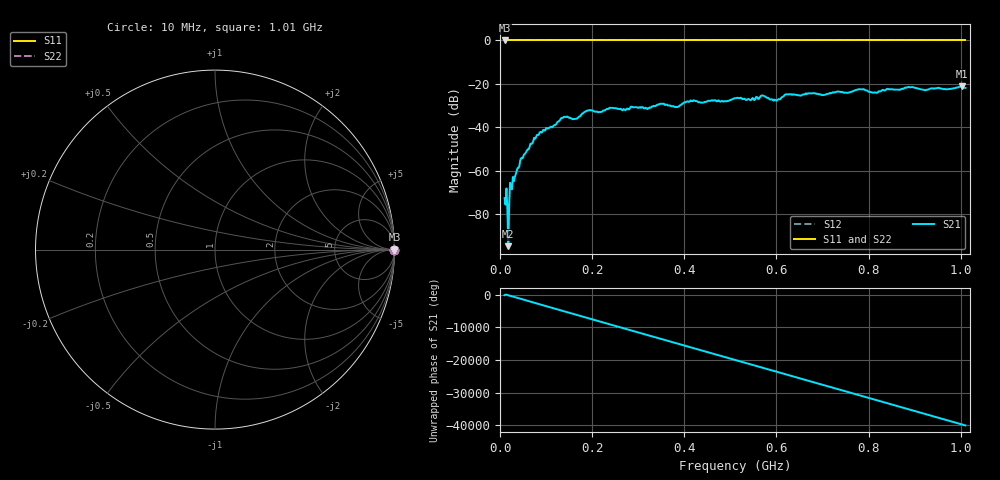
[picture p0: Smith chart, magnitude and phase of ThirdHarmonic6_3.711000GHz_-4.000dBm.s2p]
! 8/17/2025 12:38:05 PM
! C:\ANRITSUVNA\TEMP\TEMP.S2P
! CHANNEL.1
! TR.MEASUREMENT
! RAW.DATA
! RF.CORRECTION.OFF
! AVERAGING.OFF
! IF.BANDWIDTH: 5KHZ
! SWEEPTYPE:  FREQ.SWEEP(Linear)
! Reference Plane Port Info
! PORT:  PORT1  PORT2
! DISTANCE:  0  m  0  m
! TIME:  0  s  0  s
! PHASE.OFFSET:  0  deg.  0  deg.
! LOSS:  0  dB  0  dB
! REF.LOSS:  0  dB  0  dB
! REF.FREQ:  0  Hz  0  Hz
! Power Info
! POWER:  -20  dBm  -20  dBm
! EFF.POWER:  -20  dBm  -20  dBm
! SOURCE.ATTEN:  0  dB  0  dB
! TEST.ATTEN:  0  dB  0  dB
# GHZ S RI R 50.0
! FREQ.GHZ  S11RE  S11IM  S21RE  S21IM  S12RE  S12IM  S22RE  S22IM
!; PortSelection: Port_12
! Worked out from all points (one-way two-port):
!   501 points, 10 MHz to 1.01 GHz, reference 50 ohm
!   highest |S21| = -21.18 dB at 1.002 GHz (marker M1); lowest = -94.7 dB at 18 MHz (marker M2)
!   lowest |S11| = 0.0 dB at 10 MHz (marker M3)
!   |S11| at or under -10 dB: nowhere
!   |S22| runs from 0.0 to 0.0 dB; largest |S21 - S12| = 1.1
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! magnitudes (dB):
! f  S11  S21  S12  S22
! 10 MHz  0.0  -72.5  0.0  0.0
! 16 MHz  0.0  -77.5  0.0  0.0
! 18 MHz  0.0  -94.7  0.0  0.0
! 22 MHz  0.0  -65.5  0.0  0.0
! 26 MHz  0.0  -68.5  0.0  0.0
! 48 MHz  0.0  -54.3  0.0  0.0
! 78 MHz  0.0  -44.7  0.0  0.0
! 136 MHz  0.0  -35.7  0.0  0.0
! 162 MHz  0.0  -36.2  0.0  0.0
! 178 MHz  0.0  -33.7  0.0  0.0
! 192 MHz  0.0  -32.2  0.0  0.0
! 344 MHz  0.0  -29.6  0.0  0.0
! 384 MHz  0.0  -30.6  0.0  0.0
! 416 MHz  0.0  -27.9  0.0  0.0
! 510 MHz  0.0  -26.6  0.0  0.0
! 570 MHz  0.0  -25.3  0.0  0.0
! 598 MHz  0.0  -27.5  0.0  0.0
! 622 MHz  0.0  -24.8  0.0  0.0
! 678 MHz  0.0  -24.4  0.0  0.0
! 844 MHz  0.0  -22.5  0.0  0.0
! 1.002 GHz  0.0  -21.2  0.0  0.0
! 1.01 GHz  0.0  -21.8  0.0  0.0
